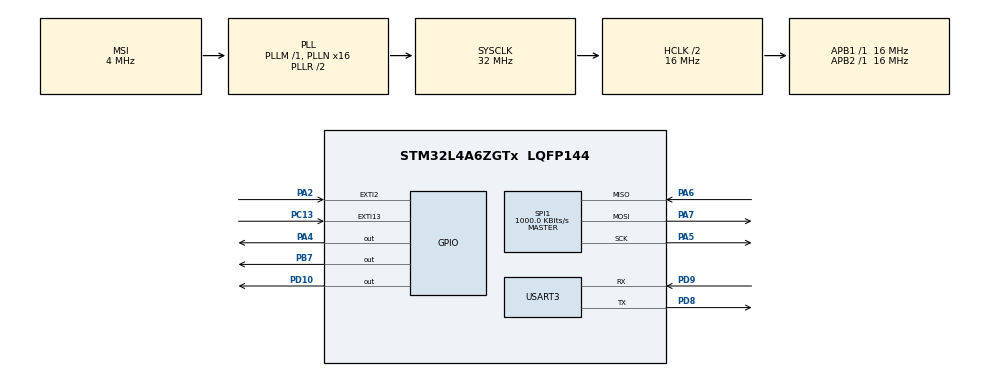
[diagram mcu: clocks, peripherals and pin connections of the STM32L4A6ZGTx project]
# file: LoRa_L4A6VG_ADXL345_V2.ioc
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IWDG.Prescaler=IWDG_PRESCALER_64
IWDG.Window=4000
Mcu.Family=STM32L4
Mcu.Name=STM32L4A6ZGTx
Mcu.Package=LQFP144
NVIC.EXTI15_10_IRQn=true\:1\:0\:true\:false\:true\:true\:true
NVIC.EXTI2_IRQn=true\:1\:0\:true\:false\:true\:true\:true
NVIC.PriorityGroup=NVIC_PRIORITYGROUP_4
NVIC.TIM2_IRQn=true\:0\:0\:false\:false\:true\:true\:true
NVIC.USART3_IRQn=true\:0\:0\:true\:false\:true\:true\:true
PA2.Signal=GPXTI2
PA4.Signal=GPIO_Output
PA5.GPIO_PuPd=GPIO_PULLUP
PA5.Mode=Full_Duplex_Master
PA5.Signal=SPI1_SCK
PA6.GPIO_PuPd=GPIO_PULLUP
PA6.Mode=Full_Duplex_Master
PA6.Signal=SPI1_MISO
PA7.GPIO_PuPd=GPIO_PULLUP
PA7.Mode=Full_Duplex_Master
PA7.Signal=SPI1_MOSI
PB7.Signal=GPIO_Output
PC13.Signal=GPXTI13
PD10.GPIO_PuPd=GPIO_NOPULL
PD10.PinState=GPIO_PIN_SET
PD10.Signal=GPIO_Output
PD8.GPIO_PuPd=GPIO_PULLUP
PD8.Mode=Asynchronous
PD8.Signal=USART3_TX
PD9.GPIO_PuPd=GPIO_PULLUP
PD9.Mode=Asynchronous
PD9.Signal=USART3_RX
ProjectManager.HeapSize=0x200
ProjectManager.StackSize=0x400
ProjectManager.TargetToolchain=STM32CubeIDE
RCC.ADCFreq_Value=16000000
RCC.AHBCLKDivider=RCC_SYSCLK_DIV2
RCC.AHBFreq_Value=16000000
RCC.APB1Freq_Value=16000000
RCC.APB1TimFreq_Value=16000000
RCC.APB2Freq_Value=16000000
RCC.APB2TimFreq_Value=16000000
RCC.CortexFreq_Value=16000000
RCC.HCLKFreq_Value=16000000
RCC.HSE_VALUE=8000000
RCC.HSI48_VALUE=48000000
RCC.HSI_VALUE=16000000
RCC.LSE_VALUE=32768
RCC.MSI_VALUE=4000000
RCC.PLLN=16
RCC.SYSCLKFreq_VALUE=32000000
RCC.SYSCLKSource=RCC_SYSCLKSOURCE_PLLCLK
RCC.USBFreq_Value=16000000
RCC.VCOOutputFreq_Value=64000000
SPI1.BaudRatePrescaler=SPI_BAUDRATEPRESCALER_16
SPI1.CLKPhase=SPI_PHASE_2EDGE
SPI1.CLKPolarity=SPI_POLARITY_HIGH
SPI1.CalculateBaudRate=1000.0 KBits/s
SPI1.DataSize=SPI_DATASIZE_8BIT
SPI1.Direction=SPI_DIRECTION_2LINES
SPI1.Mode=SPI_MODE_MASTER
SPI1.VirtualType=VM_MASTER
TIM2.Period=10-1
TIM2.Prescaler=1600-1
USART3.VirtualMode-Asynchronous=VM_ASYNC
VP_IWDG_VS_IWDG.Mode=IWDG_Activate
VP_RTC_VS_RTC_Activate.Mode=RTC_Enabled
VP_TIM2_VS_ClockSourceINT.Mode=Internal
board=custom

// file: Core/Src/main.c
/* USER CODE BEGIN Header */
/**
  ******************************************************************************
  * @file           : main.c
  * @brief          : Main program body
  ******************************************************************************
  * @attention
  *
  * <h2><center>&copy; Copyright (c) 2020 STMicroelectronics.
  * All rights reserved.</center></h2>
  *
  * This software component is licensed by ST under BSD 3-Clause license,
  * the "License"; You may not use this file except in compliance with the
  * License. You may obtain a copy of the License at:
  *                        opensource.org/licenses/BSD-3-Clause
  *
  ******************************************************************************
STM32L4A6 ADXL345 loRa node
Version: V2
Update Note:
1.Update Calculate algorithm.
2.Update Data Acquire follow.
  ******************************************************************************
  */
/* USER CODE END Header */

#include "main.h"

IWDG_HandleTypeDef hiwdg;

RTC_HandleTypeDef hrtc;

SPI_HandleTypeDef hspi1;

TIM_HandleTypeDef htim2;

UART_HandleTypeDef huart3;

/* USER CODE BEGIN PV */
//TODO--Wayne20200924
PWRST_t PWRST;
USART_LoRa USARTLoRa;

uint8_t TrigAcqFlag = false;
uint8_t DRDY=0;
//int16_t sampleCount = 0;

uint8_t data[6]={0,0,0,0,0,0};
int16_t sampleIndex = 0;

char NodeStatus;

//TODO:for signal buffer

fftInstance XfftInstance;
fftInstance YfftInstance;
fftInstance ZfftInstance;
//TODO for IWDG Freeze By Standby Mode
FLASH_OBProgramInitTypeDef pOBInit;

/* USER CODE END PV */

void SystemClock_Config(void);
static void MX_GPIO_Init(void);
static void MX_RTC_Init(void);
static void MX_SPI1_Init(void);
static void MX_USART3_UART_Init(void);
static void MX_IWDG_Init(void);
static void MX_TIM2_Init(void);
/* USER CODE BEGIN PFP */
//TODO--wayne

/* USER CODE END PFP */

/* USER CODE BEGIN 0 */
//TODO--wayne
/*void ADXL345_Init();

void AcquireData();
void FeatureExtraction();*/

/* USER CODE END 0 */

int main(void)
{

  /* MCU Configuration--------------------------------------------------------*/

  /* Reset of all peripherals, Initializes the Flash interface and the Systick. */
  HAL_Init();

  /* Configure the system clock */
  SystemClock_Config();

  /* Initialize all configured peripherals */
  MX_GPIO_Init();
  MX_RTC_Init();
  MX_SPI1_Init();
  MX_USART3_UART_Init();
  MX_IWDG_Init();
  MX_TIM2_Init();
  /* USER CODE BEGIN 2 */
  //TODO--Wayne20200925
  RUN_PWR_Mode_Init(&hrtc);
  USARTLoRa.Status=WakeUp;
//  USARTLoRa.Status=CMDdebug;
  while(HAL_UART_Receive_IT(&huart3,&USARTLoRa.Rbuffer,1)!=HAL_OK);
  //delay_init(168);
  //delay_init(80);//STM32L4A6 HCLK=80MHz
  delay_init(16);//STM32L4A6 HCLK=16MHz
  ADXL345_Init();

  IWDGFreezeBySTDBY();
  //HAL_NVIC_SystemReset();
  /*
  setting Device power mode:
  PWRST.PowerMode =
  			 	 ---RunMode
  			 	 ---StandbyMode
  */
  PWRST.PowerMode = StandbyMode;
  NodeStatus = TrigAcquire;

  /* USER CODE END 2 */

  /* Infinite loop */
  while (1)
  {

    /* USER CODE BEGIN 3 */
	//TODO:ADXL345 Measure
//     while(sampleIndex < dataLength/2)
//     {
//     	ADXL_IntProto();
//     	readRegister(DATA0,data,6);
//     	if(dataReady == true)
// 		{
// 			delay_us(5);
// 			 AcquireData(&data);
//
// 			sampleIndex++;
// 			dataReady = false;
// 		}
//     }
//     FeatureExtraction();
//     sampleIndex = 0;
	  switch(NodeStatus)
	  {
	  	case TrigAcquire:
	  		TrigAcqFlag = true;
	  		NodeStatus = DataAcquire;
//	  		//reset Data Ready Interrupt, Start acquire data.
//	  		readRegister(DATA0,data,6);
	  		  break;

	  	case DataAcquire:
	  		if(TrigAcqFlag == true)
	  		{
	  			TrigAcqFlag = false;
	  			//reset Data Ready Interrupt, Start acquire data.
	  			readRegister(DATA0,data,6);
	  		}
	  		//if(sampleIndex < dataLength/2)
		  	while(sampleIndex < dataLength/2)
		  	{
		  		if(DRDY=1)
		  		{
			  		//Acquire data
			  		AcquireData(&data);
			  		sampleIndex++;
			  		DRDY=0;
			  	}
		  	}
			//else if(sampleIndex == dataLength/2)
	  		if(sampleIndex == dataLength/2)
	  			NodeStatus = DataCalculate;
	  		  break;

	  	case DataCalculate:
	  		FeatureExtraction();
    		sampleIndex = 0;
	  		NodeStatus = TransmitWithPWRST;
	  		  break;

	  	case TransmitWithPWRST:
	  		if(PWRST.PowerMode == StandbyMode)
			{
    			//TODO:ADXL345 Standby Entry
    			ADXL_Standby(ON);

    			//TODO:Lora send data
    			LoRa_USART(&huart3);

    			//IWDG_Refresh
    			HAL_IWDG_Refresh(&hiwdg);

    			//TODO:MCU Standby Entry
    			EnterStandbyPWR_Mode(&hrtc);
    		}

    		else
    		{
    			USARTLoRa.ResStatus = LoRa_OK;
    			//TODO:Lora send data
    			LoRa_USART(&huart3);

    			NodeStatus = TrigAcquire;

    			//IWDG_Refresh
    			HAL_IWDG_Refresh(&hiwdg);

    		}
	  		  break;
	  }

  }
  /* USER CODE END 3 */
}

void SystemClock_Config(void)
{
  RCC_OscInitTypeDef RCC_OscInitStruct = {0};
  RCC_ClkInitTypeDef RCC_ClkInitStruct = {0};
  RCC_PeriphCLKInitTypeDef PeriphClkInit = {0};

  /** Initializes the CPU, AHB and APB busses clocks
  */
  RCC_OscInitStruct.OscillatorType = RCC_OSCILLATORTYPE_LSI|RCC_OSCILLATORTYPE_MSI;
  RCC_OscInitStruct.LSIState = RCC_LSI_ON;
  RCC_OscInitStruct.MSIState = RCC_MSI_ON;
  RCC_OscInitStruct.MSICalibrationValue = 0;
  RCC_OscInitStruct.MSIClockRange = RCC_MSIRANGE_6;
  RCC_OscInitStruct.PLL.PLLState = RCC_PLL_ON;
  RCC_OscInitStruct.PLL.PLLSource = RCC_PLLSOURCE_MSI;
  RCC_OscInitStruct.PLL.PLLM = 1;
  RCC_OscInitStruct.PLL.PLLN = 16;
  RCC_OscInitStruct.PLL.PLLP = RCC_PLLP_DIV2;
  RCC_OscInitStruct.PLL.PLLQ = RCC_PLLQ_DIV2;
  RCC_OscInitStruct.PLL.PLLR = RCC_PLLR_DIV2;
  if (HAL_RCC_OscConfig(&RCC_OscInitStruct) != HAL_OK)
  {
    Error_Handler();
  }
  /** Initializes the CPU, AHB and APB busses clocks
  */
  RCC_ClkInitStruct.ClockType = RCC_CLOCKTYPE_HCLK|RCC_CLOCKTYPE_SYSCLK
                              |RCC_CLOCKTYPE_PCLK1|RCC_CLOCKTYPE_PCLK2;
  RCC_ClkInitStruct.SYSCLKSource = RCC_SYSCLKSOURCE_PLLCLK;
  RCC_ClkInitStruct.AHBCLKDivider = RCC_SYSCLK_DIV2;
  RCC_ClkInitStruct.APB1CLKDivider = RCC_HCLK_DIV1;
  RCC_ClkInitStruct.APB2CLKDivider = RCC_HCLK_DIV1;

  if (HAL_RCC_ClockConfig(&RCC_ClkInitStruct, FLASH_LATENCY_0) != HAL_OK)
  {
    Error_Handler();
  }
  PeriphClkInit.PeriphClockSelection = RCC_PERIPHCLK_RTC|RCC_PERIPHCLK_USART3;
  PeriphClkInit.Usart3ClockSelection = RCC_USART3CLKSOURCE_PCLK1;
  PeriphClkInit.RTCClockSelection = RCC_RTCCLKSOURCE_LSI;
  if (HAL_RCCEx_PeriphCLKConfig(&PeriphClkInit) != HAL_OK)
  {
    Error_Handler();
  }
  /** Configure the main internal regulator output voltage
  */
  if (HAL_PWREx_ControlVoltageScaling(PWR_REGULATOR_VOLTAGE_SCALE1) != HAL_OK)
  {
    Error_Handler();
  }
}

static void MX_IWDG_Init(void)
{

  hiwdg.Instance = IWDG;
  hiwdg.Init.Prescaler = IWDG_PRESCALER_64;
  hiwdg.Init.Window = 4000;
  hiwdg.Init.Reload = 4095;
  if (HAL_IWDG_Init(&hiwdg) != HAL_OK)
  {
    Error_Handler();
  }

}

static void MX_RTC_Init(void)
{

  /** Initialize RTC Only
  */
  hrtc.Instance = RTC;
  hrtc.Init.HourFormat = RTC_HOURFORMAT_24;
  hrtc.Init.AsynchPrediv = 127;
  hrtc.Init.SynchPrediv = 255;
  hrtc.Init.OutPut = RTC_OUTPUT_DISABLE;
  hrtc.Init.OutPutRemap = RTC_OUTPUT_REMAP_NONE;
  hrtc.Init.OutPutPolarity = RTC_OUTPUT_POLARITY_HIGH;
  hrtc.Init.OutPutType = RTC_OUTPUT_TYPE_OPENDRAIN;
  if (HAL_RTC_Init(&hrtc) != HAL_OK)
  {
    Error_Handler();
  }

}

static void MX_SPI1_Init(void)
{

  /* SPI1 parameter configuration*/
  hspi1.Instance = SPI1;
  hspi1.Init.Mode = SPI_MODE_MASTER;
  hspi1.Init.Direction = SPI_DIRECTION_2LINES;
  hspi1.Init.DataSize = SPI_DATASIZE_8BIT;
  hspi1.Init.CLKPolarity = SPI_POLARITY_HIGH;
  hspi1.Init.CLKPhase = SPI_PHASE_2EDGE;
  hspi1.Init.NSS = SPI_NSS_SOFT;
  hspi1.Init.BaudRatePrescaler = SPI_BAUDRATEPRESCALER_16;
  hspi1.Init.FirstBit = SPI_FIRSTBIT_MSB;
  hspi1.Init.TIMode = SPI_TIMODE_DISABLE;
  hspi1.Init.CRCCalculation = SPI_CRCCALCULATION_DISABLE;
  hspi1.Init.CRCPolynomial = 7;
  hspi1.Init.CRCLength = SPI_CRC_LENGTH_DATASIZE;
  hspi1.Init.NSSPMode = SPI_NSS_PULSE_DISABLE;
  if (HAL_SPI_Init(&hspi1) != HAL_OK)
  {
    Error_Handler();
  }

}

static void MX_TIM2_Init(void)
{

  TIM_ClockConfigTypeDef sClockSourceConfig = {0};
  TIM_MasterConfigTypeDef sMasterConfig = {0};

  htim2.Instance = TIM2;
  htim2.Init.Prescaler = 1600-1;
  htim2.Init.CounterMode = TIM_COUNTERMODE_UP;
  htim2.Init.Period = 10-1;
  htim2.Init.ClockDivision = TIM_CLOCKDIVISION_DIV1;
  htim2.Init.AutoReloadPreload = TIM_AUTORELOAD_PRELOAD_DISABLE;
  if (HAL_TIM_Base_Init(&htim2) != HAL_OK)
  {
    Error_Handler();
  }
  sClockSourceConfig.ClockSource = TIM_CLOCKSOURCE_INTERNAL;
  if (HAL_TIM_ConfigClockSource(&htim2, &sClockSourceConfig) != HAL_OK)
  {
    Error_Handler();
  }
  sMasterConfig.MasterOutputTrigger = TIM_TRGO_RESET;
  sMasterConfig.MasterSlaveMode = TIM_MASTERSLAVEMODE_DISABLE;
  if (HAL_TIMEx_MasterConfigSynchronization(&htim2, &sMasterConfig) != HAL_OK)
  {
    Error_Handler();
  }

}

static void MX_USART3_UART_Init(void)
{

  huart3.Instance = USART3;
  huart3.Init.BaudRate = 115200;
  huart3.Init.WordLength = UART_WORDLENGTH_8B;
  huart3.Init.StopBits = UART_STOPBITS_1;
  huart3.Init.Parity = UART_PARITY_NONE;
  huart3.Init.Mode = UART_MODE_TX_RX;
  huart3.Init.HwFlowCtl = UART_HWCONTROL_NONE;
  huart3.Init.OverSampling = UART_OVERSAMPLING_16;
  huart3.Init.OneBitSampling = UART_ONE_BIT_SAMPLE_DISABLE;
  huart3.AdvancedInit.AdvFeatureInit = UART_ADVFEATURE_NO_INIT;
  if (HAL_UART_Init(&huart3) != HAL_OK)
  {
    Error_Handler();
  }

}

static void MX_GPIO_Init(void)
{
  GPIO_InitTypeDef GPIO_InitStruct = {0};

  /* GPIO Ports Clock Enable */
  __HAL_RCC_GPIOC_CLK_ENABLE();
  __HAL_RCC_GPIOA_CLK_ENABLE();
  __HAL_RCC_GPIOD_CLK_ENABLE();
  __HAL_RCC_GPIOB_CLK_ENABLE();

  /*Configure GPIO pin Output Level */
  HAL_GPIO_WritePin(GPIOA, GPIO_PIN_4, GPIO_PIN_RESET);

  /*Configure GPIO pin Output Level */
  HAL_GPIO_WritePin(GPIOD, GPIO_PIN_10, GPIO_PIN_SET);

  /*Configure GPIO pin Output Level */
  HAL_GPIO_WritePin(GPIOB, GPIO_PIN_7, GPIO_PIN_RESET);

  /*Configure GPIO pin : PC13 */
  GPIO_InitStruct.Pin = GPIO_PIN_13;
  GPIO_InitStruct.Mode = GPIO_MODE_IT_RISING;
  GPIO_InitStruct.Pull = GPIO_NOPULL;
  HAL_GPIO_Init(GPIOC, &GPIO_InitStruct);

  /*Configure GPIO pin : PA2 */
  GPIO_InitStruct.Pin = GPIO_PIN_2;
  GPIO_InitStruct.Mode = GPIO_MODE_IT_RISING;
  GPIO_InitStruct.Pull = GPIO_NOPULL;
  HAL_GPIO_Init(GPIOA, &GPIO_InitStruct);

  /*Configure GPIO pin : PA4 */
  GPIO_InitStruct.Pin = GPIO_PIN_4;
  GPIO_InitStruct.Mode = GPIO_MODE_OUTPUT_PP;
  GPIO_InitStruct.Pull = GPIO_NOPULL;
  GPIO_InitStruct.Speed = GPIO_SPEED_FREQ_LOW;
  HAL_GPIO_Init(GPIOA, &GPIO_InitStruct);

  /*Configure GPIO pin : PD10 */
  GPIO_InitStruct.Pin = GPIO_PIN_10;
  GPIO_InitStruct.Mode = GPIO_MODE_OUTPUT_PP;
  GPIO_InitStruct.Pull = GPIO_NOPULL;
  GPIO_InitStruct.Speed = GPIO_SPEED_FREQ_LOW;
  HAL_GPIO_Init(GPIOD, &GPIO_InitStruct);

  /*Configure GPIO pin : PB7 */
  GPIO_InitStruct.Pin = GPIO_PIN_7;
  GPIO_InitStruct.Mode = GPIO_MODE_OUTPUT_PP;
  GPIO_InitStruct.Pull = GPIO_NOPULL;
  GPIO_InitStruct.Speed = GPIO_SPEED_FREQ_LOW;
  HAL_GPIO_Init(GPIOB, &GPIO_InitStruct);

  /* EXTI interrupt init*/
  HAL_NVIC_SetPriority(EXTI2_IRQn, 1, 0);
  HAL_NVIC_EnableIRQ(EXTI2_IRQn);

  HAL_NVIC_SetPriority(EXTI15_10_IRQn, 1, 0);
  HAL_NVIC_EnableIRQ(EXTI15_10_IRQn);

}

/* USER CODE BEGIN 4 */
//TODO-Wayne0200924
void HAL_GPIO_EXTI_Callback(uint16_t GPIO_Pin)
{
//   if(GPIO_Pin == GPIO_PIN_13)//trigger start pin PC13
//   {
// 	  delay_ms(10);
// 	  if(HAL_GPIO_ReadPin(GPIOC, GPIO_PIN_13)==GPIO_PIN_SET)
// 	  {
// 		  if(!PWRST.WLUP_BTstatus )
// 			  PWRST.WLUP_BTstatus = 1;
// 	  }
//   }
  if(GPIO_Pin == GPIO_PIN_2)//SPI data ready
	{
	  if(HAL_GPIO_ReadPin(GPIOA, GPIO_PIN_2)==GPIO_PIN_SET)
	  {
	  	DRDY=1;
//		  if(sampleIndex < dataLength/2)
//		  {
//			  //Acquire data
//			  AcquireData(&data);
//			  sampleIndex++;
//		  }

	  }

    }
}

void HAL_UART_RxCpltCallback(UART_HandleTypeDef *huart)
{
  /* Prevent unused argument(s) compilation warning */
  UNUSED(huart3);

  /* NOTE : This function should not be modified, when the callback is needed,
            the HAL_UART_RxCpltCallback can be implemented in the user file
   */

  USARTLoRa.RevStrCount++; //all string receive count
  if(USARTLoRa.Rbuffer==0x0A)//when receive 0x0a("\n" Line feeds string),it is a effective command
  {
	  USARTLoRa.RevStrEndCount++;//0x0a("\n" Line feeds string) count
	  if( USARTLoRa.RevStrEndCount==1	&&	USARTLoRa.RevStrCount > 1)
		  USARTLoRa.ResetRevflag = 1;
  }

  if(!USARTLoRa.ResetRevflag)//if LoRa not reset
  {
  	  USARTLoRa.RevData[USARTLoRa.RxCount++]= USARTLoRa.Rbuffer;
  	  if(USARTLoRa.RevStrEndCount == 2)
  	  {
  		  USARTLoRa.Revflag = 1;
  		  USARTLoRa.RxCount= 0;
  		  USARTLoRa.RevStrEndCount = 0;
  		  USARTLoRa.RevStrCount = 0;
  		  char c;
  		  char RxHead_Check[] = "\n\r>> mac rx";
  		  for(c=0;c<=10;c++)
  		  {
  			USARTLoRa.RxHead[c]=USARTLoRa.RevData[c];
  		  }
  		  if(strcmp(USARTLoRa.RxHead, RxHead_Check ) == 0)
  			USARTLoRa.LoRaRxflag = 1;
  	  }
    }
    else
    {
    	if(USARTLoRa.RevStrEndCount > 6)
    	{
    		USARTLoRa.RevData[USARTLoRa.RxCount++]= USARTLoRa.Rbuffer;
    		if(USARTLoRa.RevStrEndCount == 9)
    		{
    			USARTLoRa.Revflag = 1;
    			USARTLoRa.RxCount= 0;
    			USARTLoRa.RevStrEndCount = 0;
    			USARTLoRa.RevStrCount = 0;
    		}
    	}

    }

  if(USARTLoRa.RxCount>=70)//if don't receive "\n" Line feeds string full over to 64 byte, clear data
  {
	  USARTLoRa.RxCount=0;
  	  memset( USARTLoRa.RevData, 0, strlen((const char*)USARTLoRa.RevData) ); //clear Receive data
  }
  while(HAL_UART_Receive_IT(&huart3,&USARTLoRa.Rbuffer,1)!=HAL_OK);
}

void IWDGFreezeBySTDBY(void)
{

	 HAL_FLASH_Unlock();

	 __HAL_FLASH_CLEAR_FLAG(FLASH_FLAG_OPTVERR); //clear FLASH Option validity error flag

	 HAL_FLASH_OB_Unlock();

	 HAL_FLASHEx_OBGetConfig(&pOBInit); //Get Option bit setting

	 //setup IWDG Freeze in standby mode
	 pOBInit.OptionType = OPTIONBYTE_USER;

	 pOBInit.USERType = OB_USER_IWDG_STDBY;

	 pOBInit.USERConfig = OB_IWDG_STDBY_FREEZE;

	 HAL_FLASHEx_OBProgram(&pOBInit);

	 HAL_FLASH_OB_Lock();

	 HAL_FLASH_Lock();
}

/**
  * @brief  Period elapsed callback in non blocking mode
  * @param  htim: TIM handle
  * @retval None
  */
void HAL_TIM_PeriodElapsedCallback(TIM_HandleTypeDef *htim)
{
    if (htim->Instance == htim2.Instance)
    {
    	USARTLoRa.CrashTimerCount++;
    }
}

/* USER CODE END 4 */

void Error_Handler(void)
{
}

/************************ (C) COPYRIGHT STMicroelectronics *****END OF FILE****/
